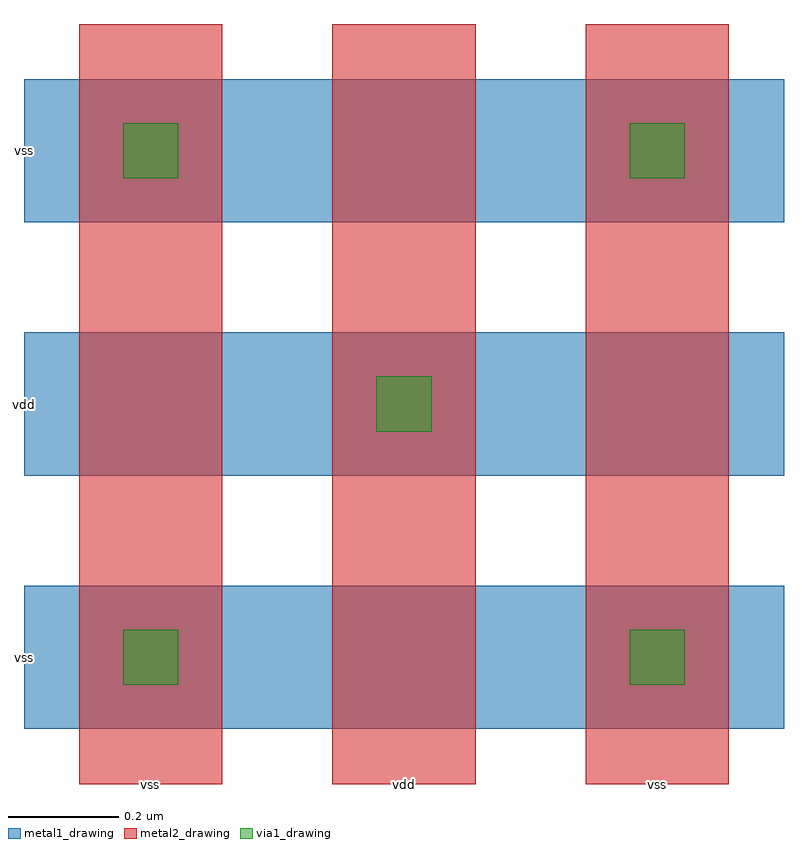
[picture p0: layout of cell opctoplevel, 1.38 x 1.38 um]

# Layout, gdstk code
import gdstk
lib = gdstk.Library(unit=1e-6, precision=1e-09)
def R(c, l, rs):  # rectangles x0, y0, x1, y1
    for r in rs: c.add(gdstk.rectangle(r[:2], r[2:], *l))
def A(c, l, x, y, w, h, nx, ny, dx, dy):  # array of equal rectangles
    R(c, l, [(x+i*dx, y+j*dy, x+i*dx+w, y+j*dy+h) for i in range(nx) for j in range(ny)])
metal1_drawing = (8, 0)
via1_drawing = (9, 0)
metal2_drawing = (10, 0)

opctoplevel = lib.new_cell('opctoplevel')
A(opctoplevel, metal1_drawing, -0.69, -0.59, 1.38, 0.26, 1, 3, 0, 0.46)
R(opctoplevel, via1_drawing, [(-0.51,-0.51,-0.41,-0.41), (0.41,-0.51,0.51,-0.41), (-0.05,-0.05,0.05,0.05), (-0.51,0.41,-0.41,0.51), (0.41,0.41,0.51,0.51)])
A(opctoplevel, metal2_drawing, -0.59, -0.69, 0.26, 1.38, 3, 1, 0.46, 0)
opctoplevel.add(gdstk.Label('vss', (-0.69,-0.46), layer=8, texttype=0))
opctoplevel.add(gdstk.Label('vdd', (-0.69,0), layer=8, texttype=0))
opctoplevel.add(gdstk.Label('vss', (-0.69,0.46), layer=8, texttype=0))
opctoplevel.add(gdstk.Label('vss', (-0.46,-0.69), layer=10, texttype=0))
opctoplevel.add(gdstk.Label('vdd', (0,-0.69), layer=10, texttype=0))
opctoplevel.add(gdstk.Label('vss', (0.46,-0.69), layer=10, texttype=0))

lib.write_gds('opctoplevel.gds')
